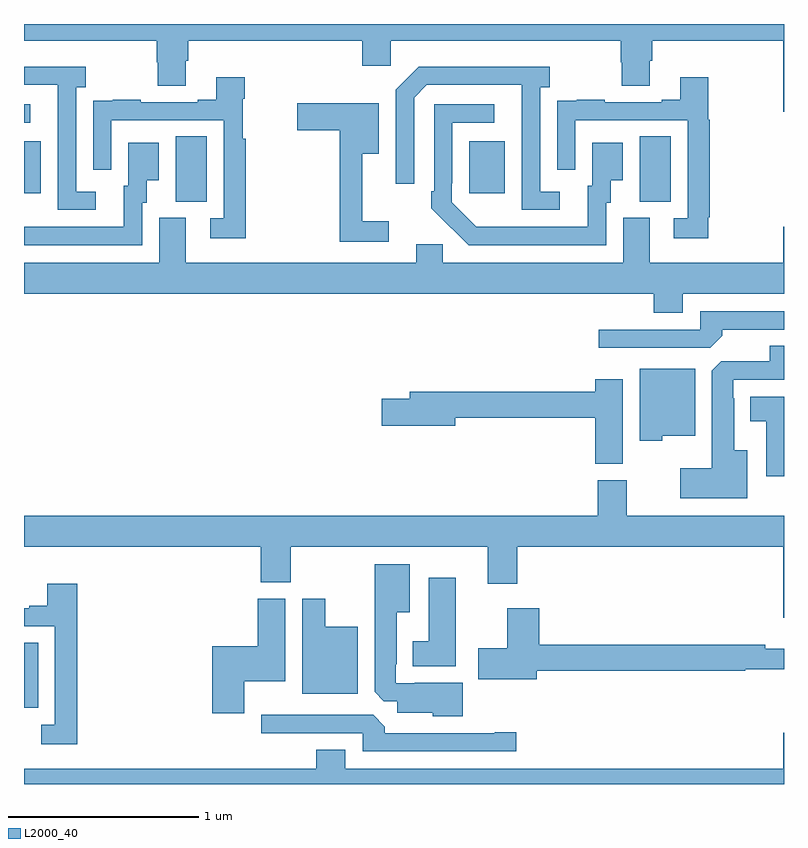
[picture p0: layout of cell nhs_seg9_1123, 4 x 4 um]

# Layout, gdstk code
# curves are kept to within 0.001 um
import gdstk
lib = gdstk.Library(unit=1e-6, precision=1e-09)
def R(c, l, rs):  # rectangles x0, y0, x1, y1
    for r in rs: c.add(gdstk.rectangle(r[:2], r[2:], *l))
def P(c, l, *ps):  # polygons
    for p in ps: c.add(gdstk.Polygon(p, *l))
L2000_40 = (2000, 40)

nhs_seg9_1123 = lib.new_cell('nhs_seg9_1123')
R(nhs_seg9_1123, L2000_40, [(173,1200.901,173.074,1201.244), (173.798,1203.565,173.962,1203.908), (176.24,1203.565,176.404,1203.908), (173,1203.609,173.089,1203.883), (175.343,1203.609,175.531,1203.883), (173,1203.981,173.032,1204.077)])
P(nhs_seg9_1123, L2000_40, [(177,1204.5),(173,1204.5),(173,1204.412),(173.699,1204.412),(173.699,1204.299),(173.704,1204.299),(173.704,1204.174),(173.851,1204.174),(173.851,1204.306),(173.864,1204.306),(173.864,1204.412),(174.779,1204.412),(174.779,1204.281),(174.93,1204.281),(174.93,1204.412),(176.141,1204.412),(176.141,1204.299),(176.146,1204.299),(176.146,1204.174),(176.293,1204.174),(176.293,1204.306),(176.306,1204.306),(176.306,1204.412),(176.996,1204.412),(176.996,1204.038),(177,1204.038)],
  [(173.377,1203.618),(173.274,1203.618),(173.274,1204.166),(173.326,1204.166),(173.326,1204.276),(173,1204.276),(173,1204.179),(173.177,1204.179),(173.177,1203.979),(173.178,1203.979),(173.178,1203.522),(173.377,1203.522)],
  [(175.819,1203.618),(175.716,1203.618),(175.716,1204.166),(175.768,1204.166),(175.768,1204.276),(175.078,1204.276),(174.957,1204.155),(174.957,1203.66),(175.053,1203.66),(175.053,1204.113),(175.119,1204.179),(175.619,1204.179),(175.62,1203.522),(175.819,1203.522)],
  [(176.602,1203.484),(176.609,1203.484),(176.609,1203.996),(176.602,1203.996),(176.602,1204.219),(176.453,1204.219),(176.453,1204.102),(176.357,1204.102),(176.357,1204.089),(176.057,1204.089),(176.057,1204.102),(175.909,1204.102),(175.909,1204.095),(175.807,1204.095),(175.807,1203.986),(175.806,1203.986),(175.806,1203.732),(175.902,1203.732),(175.902,1203.993),(176.493,1203.993),(176.493,1203.477),(176.421,1203.477),(176.421,1203.372),(176.602,1203.372)],
  [(174.167,1203.896),(174.152,1203.896),(174.152,1204.106),(174.161,1204.106),(174.161,1204.219),(174.011,1204.219),(174.011,1204.102),(173.915,1204.102),(173.915,1204.089),(173.615,1204.089),(173.615,1204.102),(173.467,1204.102),(173.467,1204.095),(173.365,1204.095),(173.365,1203.986),(173.364,1203.986),(173.364,1203.732),(173.46,1203.732),(173.46,1203.993),(174.051,1203.993),(174.051,1203.477),(173.979,1203.477),(173.979,1203.372),(174.167,1203.372)],
  [(174.919,1203.463),(174.779,1203.463),(174.779,1203.818),(174.868,1203.818),(174.868,1204.083),(174.438,1204.083),(174.438,1203.941),(174.661,1203.941),(174.661,1203.354),(174.919,1203.354)],
  [(176.064,1203.558),(176.089,1203.558),(176.089,1203.677),(176.152,1203.677),(176.152,1203.874),(175.991,1203.874),(175.991,1203.648),(175.967,1203.648),(175.967,1203.432),(175.38,1203.433),(175.251,1203.561),(175.251,1203.661),(175.254,1203.661),(175.254,1203.981),(175.474,1203.981),(175.474,1204.077),(175.158,1204.077),(175.158,1203.619),(175.143,1203.619),(175.143,1203.531),(175.34,1203.336),(176.064,1203.336)],
  [(173.622,1203.558),(173.647,1203.558),(173.647,1203.677),(173.71,1203.677),(173.71,1203.874),(173.549,1203.874),(173.549,1203.648),(173.525,1203.648),(173.525,1203.432),(173.041,1203.432),(173.041,1203.433),(173,1203.433),(173,1203.336),(173.622,1203.336)],
  [(176.467,1203.08),(177,1203.08),(177,1203.433),(176.996,1203.433),(176.996,1203.244),(176.293,1203.244),(176.293,1203.48),(176.153,1203.48),(176.153,1203.244),(175.203,1203.244),(175.203,1203.342),(175.064,1203.342),(175.064,1203.244),(173.851,1203.244),(173.851,1203.48),(173.711,1203.48),(173.711,1203.244),(173,1203.244),(173,1203.08),(176.315,1203.08),(176.315,1202.981),(176.467,1202.981)],
  [(176.675,1202.858),(176.675,1202.892),(177,1202.892),(177,1202.988),(176.559,1202.988),(176.559,1202.892),(176.025,1202.892),(176.025,1202.796),(176.613,1202.796)],
  [(176.806,1202.257),(176.737,1202.257),(176.737,1202.531),(176.733,1202.531),(176.733,1202.628),(177,1202.628),(177,1202.807),(176.924,1202.807),(176.924,1202.724),(176.67,1202.724),(176.621,1202.675),(176.621,1202.161),(176.454,1202.161),(176.454,1202.003),(176.806,1202.003)],
  [(176.358,1202.333),(176.533,1202.333),(176.533,1202.686),(176.24,1202.686),(176.24,1202.306),(176.358,1202.306)],
  [(176.152,1202.629),(176.006,1202.629),(176.006,1202.564),(175.031,1202.564),(175.031,1202.528),(174.882,1202.528),(174.882,1202.386),(175.27,1202.386),(175.27,1202.428),(176.006,1202.428),(176.006,1202.185),(176.152,1202.185)],
  [(177,1202.539),(176.822,1202.539),(176.822,1202.408),(176.906,1202.408),(176.906,1202.121),(177,1202.121)],
  [(177,1201.912),(176.173,1201.912),(176.173,1202.1),(176.021,1202.1),(176.021,1201.912),(173,1201.912),(173,1201.748),(174.245,1201.748),(174.245,1201.561),(174.405,1201.561),(174.405,1201.748),(175.442,1201.748),(175.442,1201.554),(175.595,1201.554),(175.595,1201.748),(176.996,1201.748),(176.996,1201.374),(177,1201.374)],
  [(175.309,1201.033),(175.057,1201.033),(175.057,1201.029),(174.957,1201.029),(174.957,1201.129),(174.961,1201.129),(174.961,1201.403),(175.03,1201.403),(175.03,1201.657),(174.845,1201.657),(174.845,1200.985),(174.894,1200.936),(174.965,1200.936),(174.965,1200.875),(175.152,1200.875),(175.152,1200.857),(175.309,1200.857)],
  [(175.273,1201.585),(175.13,1201.585),(175.13,1201.252),(175.046,1201.252),(175.046,1201.121),(175.273,1201.121)],
  [(173.279,1201.555),(173.123,1201.555),(173.123,1201.438),(173.027,1201.438),(173.027,1201.425),(173,1201.425),(173,1201.329),(173.163,1201.329),(173.163,1200.813),(173.091,1200.813),(173.091,1200.708),(173.279,1200.708)],
  [(174.16,1201.04),(174.376,1201.04),(174.376,1201.476),(174.23,1201.476),(174.23,1201.225),(173.99,1201.225),(173.99,1200.873),(174.16,1200.873)],
  [(174.757,1201.327),(174.586,1201.327),(174.586,1201.474),(174.464,1201.474),(174.464,1200.974),(174.757,1200.974)],
  [(175.699,1201.096),(176.795,1201.096),(176.795,1201.104),(177,1201.104),(177,1201.213),(176.9,1201.213),(176.9,1201.232),(175.712,1201.232),(175.712,1201.426),(175.544,1201.426),(175.544,1201.215),(175.392,1201.215),(175.392,1201.052),(175.699,1201.052)],
  [(175.591,1200.773),(175.478,1200.773),(175.478,1200.768),(174.899,1200.768),(174.899,1200.802),(174.837,1200.864),(174.249,1200.864),(174.249,1200.768),(174.783,1200.768),(174.783,1200.672),(175.591,1200.672)],
  [(177,1200.769),(176.996,1200.769),(176.996,1200.58),(174.691,1200.58),(174.691,1200.679),(174.539,1200.679),(174.539,1200.58),(173,1200.58),(173,1200.5),(177,1200.5)])

lib.write_gds('nhs_seg9_1123.gds')
